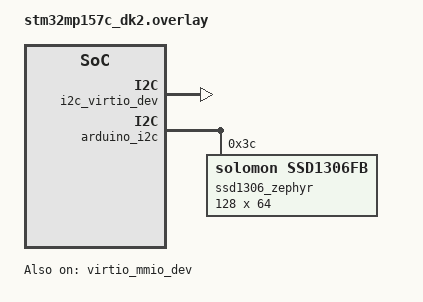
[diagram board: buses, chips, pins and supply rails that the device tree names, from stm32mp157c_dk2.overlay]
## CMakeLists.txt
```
# Copyright (c) 2023  STMicroelectronics
#
# SPDX-License-Identifier: Apache-2.0
#

cmake_minimum_required(VERSION 3.13.1)

set(SHIELD x_nucleo_iks01a2)

find_package(Zephyr REQUIRED HINTS $ENV{ZEPHYR_BASE})

project(openamp_virtio_i2c)

target_sources(app PRIVATE src/main_remote.c)
target_sources(app PRIVATE src/mmio_table.c)

target_include_directories(app PRIVATE ${LIBMETAL_INCLUDE_DIR} ${OPENAMP_INCLUDE_DIR} ${PLATFORM_DIR})
```

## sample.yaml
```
sample:
    description: This app provides an example of how to integrate OpenAMP
        with Zephyr and a virtio I2C bridge.
    name: OpenAMP with virtio I2C bridge.
tests:
    sample.subsys.ipc.openamp_virtio_i2c:
        build_only: true
        platform_whitelist: stm32mp157c_dk2
        tags: ipm
        depends_on: arduino_i2c
```

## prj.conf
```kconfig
CONFIG_KERNEL_BIN_NAME="zephyr_openamp_virtio_i2c"
CONFIG_PRINTK=y
CONFIG_IPM=y
CONFIG_PLATFORM_SPECIFIC_INIT=n
CONFIG_MAIN_STACK_SIZE=4096
CONFIG_HEAP_MEM_POOL_SIZE=16384
CONFIG_OPENAMP=y
CONFIG_I2C=y
CONFIG_I2C_STM32_INTERRUPT=y
CONFIG_I2C_TARGET=y
CONFIG_CBPRINTF_FP_SUPPORT=y

# add display
CONFIG_DISPLAY=y
CONFIG_CFB_LOG_LEVEL_DBG=y
CONFIG_CHARACTER_FRAMEBUFFER=y
CONFIG_SSD1306=y

#sensor
CONFIG_SENSOR=y
CONFIG_HTS221=y
CONFIG_LPS22HB=y
```

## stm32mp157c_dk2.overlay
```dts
/*
 * Copyright (c) 2023, STMICROLECTRONICS
 *
 * SPDX-License-Identifier: Apache-2.0
 */

/ {
	chosen {
		zephyr,ipc = &mailbox;
	};
};

&virtio_mmio_dev {
	status = "okay";
};

&i2c_virtio_dev {
	status = "okay";
};

&arduino_i2c {
	status = "okay";
	ssd1306_zephyr:ssd1306@3c {
		compatible = "solomon,ssd1306fb";
		reg = <0x3c>;
		width = <128>;
		height = <64>;
		segment-offset = <0>;
		page-offset = <0>;
		display-offset = <0>;
		multiplex-ratio = <63>;
		segment-remap;
		com-invdir;
		prechargep = <0x22>;
	};
};
```

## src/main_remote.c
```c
/*
 * Copyright (c) 2023, STMICROLECTRONICS
 *
 * SPDX-License-Identifier: Apache-2.0
 */

#include <stdlib.h>
#include <stdio.h>
#include <string.h>

#include <zephyr/device.h>
#include <zephyr/drivers/sensor.h>
#include <zephyr/drivers/virtio/virtio_mmio_dev.h>
#include <zephyr/drivers/i2c.h>
#include <zephyr/drivers/ipm.h>
#include <zephyr/kernel.h>

/* Display / Framebuffer */
#include <zephyr/display/cfb.h>

#include <zephyr/logging/log.h>
LOG_MODULE_REGISTER(openamp_virtio_i2c, LOG_LEVEL_DBG);

#define I2C_REMOTE_DISP_ADDR 0x3D

/* constant derivated from linker symbols */

#define APP_TASK_STACK_SIZE (4096)
K_THREAD_STACK_DEFINE(thread_stack, APP_TASK_STACK_SIZE);
static struct k_thread thread_data;

static const struct device *const ipm_handle =
	DEVICE_DT_GET(DT_CHOSEN(zephyr_ipc));

static const struct device *const virtio_mmio_dev =
	DEVICE_DT_GET(DT_NODELABEL(virtio_mmio_dev));

static const struct device *const virtio_i2c_dev =
	DEVICE_DT_GET(DT_NODELABEL(i2c_virtio_dev));

static const struct device *const i2c_dev = DEVICE_DT_GET(DT_NODELABEL(arduino_i2c));

#ifdef CONFIG_SSD1306
static const struct device *const dev_display = DEVICE_DT_GET(DT_NODELABEL(ssd1306_zephyr));
#endif

#ifdef CONFIG_HTS221
static const struct device *const hts221 = DEVICE_DT_GET(DT_NODELABEL(hts221_x_nucleo_iks01a2));
#endif

#ifdef CONFIG_LPS22HB
static const struct device *const lps22hb =
			DEVICE_DT_GET(DT_NODELABEL(lps22hb_press_x_nucleo_iks01a2));
#endif

static uint16_t display_rows;
static uint8_t display_ppt;
static uint8_t display_font_width;
static uint8_t display_font_height;
static bool display_available;

static struct sensor_value temp1, temp2, hum, press;

static bool hts221_available = true;
static bool lps22hb_available = true;

void stop_display(void)
{
	display_blanking_on(dev_display);
}

static void platform_ipm_callback(const struct device *dev,
				  void *context, uint32_t id, volatile void *data)
{
	if (id == 2) {
		/* receive shutdown */
		stop_display();
		return;
	}

	if (id == 5) {
		virtio_mmio_interrupt(virtio_mmio_dev);
		return;
	}
}

static void send_virtio_it(void)
{
	ipm_send(ipm_handle, 0, 4, NULL, 0);
}

void init_sensors(void)
{
	/* search in devicetree if sensors are referenced */

#if CONFIG_HTS221
	if (!device_is_ready(hts221)) {
		LOG_ERR("Could not get HTS221 device\n");
		hts221_available = false;
	}
#endif
#if CONFIG_LPS22HB
	if (!device_is_ready(lps22hb)) {
		LOG_ERR("Could not get LPS22HB device\n");
		lps22hb_available = false;
	}
#endif

	/* set LSM6DSL accel/gyro sampling frequency to 104 Hz */
	struct sensor_value odr_attr;

	odr_attr.val1 = 104;
	odr_attr.val2 = 0;

}

int init_display(void)
{
	int ret;

	/* init display */
	if (!device_is_ready(dev_display)) {
		LOG_ERR("Display Device not found\n");
		return -ENODEV;
	}
	display_available = true;

	ret = display_set_pixel_format(dev_display, PIXEL_FORMAT_MONO10);
	if (ret) {
		LOG_ERR("Failed to set format PIXEL_FORMAT_MONO10\n");
		return ret;
	}

	ret = cfb_framebuffer_init(dev_display);
	if (ret) {
		LOG_ERR("Framebuffer initialization failed!\n");
		return ret;
	}
	cfb_framebuffer_clear(dev_display, true);

	display_blanking_off(dev_display);

	display_rows = cfb_get_display_parameter(dev_display,
						 CFB_DISPLAY_ROWS);
	display_ppt = cfb_get_display_parameter(dev_display,
						CFB_DISPLAY_PPT);
	for (int idx = 0; idx < 42; idx++) {
		if (cfb_get_font_size(dev_display, idx,
				      &display_font_width,
				      &display_font_height)) {
			break;
		}
		cfb_framebuffer_set_font(dev_display, idx);
		LOG_DBG("idx: %d font width %d, font height %d\n",
			idx, display_font_width, display_font_height);
	}
	/* for idx: 0 font width 10, font height 16*/
	cfb_framebuffer_set_font(dev_display, 0);
	cfb_get_font_size(dev_display, 0, &display_font_width,
			  &display_font_height);

	LOG_DBG("x_res %d, y_res %d, ppt %d, rows %d, cols %d\n",
		cfb_get_display_parameter(dev_display, CFB_DISPLAY_WIDTH),
		cfb_get_display_parameter(dev_display, CFB_DISPLAY_HEIGH),
		display_ppt,
		display_rows,
		cfb_get_display_parameter(dev_display, CFB_DISPLAY_COLS));

	return 0;
}

int init_remote_display(void)
{
	if (!device_is_ready(i2c_dev)) {
		LOG_ERR("failed to bind remote display\n");
		return -ENODEV;
	}

	return 0;
}

int platform_init(void)
{
	int status;

	virtio_mmio_configure_interrupt(virtio_mmio_dev, send_virtio_it);

	/* setup IPM */
	if (!device_is_ready(ipm_handle)) {
		LOG_ERR("IPM device is not ready\n");
		return -1;
	}

	ipm_register_callback(ipm_handle, platform_ipm_callback, NULL);

	status = ipm_set_enabled(ipm_handle, 1);
	if (status) {
		LOG_ERR("ipm_set_enabled failed\n");
		return -1;
	}

	return 0;
}

static void cleanup_system(void)
{
	ipm_set_enabled(ipm_handle, 0);
}

static int i2c_target_transfer(struct i2c_target_config *config, struct i2c_msg msg)
{
	return i2c_transfer(i2c_dev, &msg, 1, config->address);
}

static const struct i2c_target_callbacks i2c_virtio_callbacks = {
	.transfer = i2c_target_transfer,
};

void app_task(void *arg1, void *arg2, void *arg3)
{
	ARG_UNUSED(arg1);
	ARG_UNUSED(arg2);
	ARG_UNUSED(arg3);

	int len;
	int ret = 0;
	char message[128];
	char display_buf[16];
	uint8_t line = 0;

	struct i2c_target_config config;

	/* Allow full access to the bus, specify address to allow only one address */
	config.address = 0xFF;
	config.callbacks = &i2c_virtio_callbacks;

	ret = i2c_target_register(virtio_i2c_dev, &config);
	if (ret) {
		LOG_ERR("Failed to register I2C SLAVE %#x\n", config.address);
		goto task_end;
	}

	LOG_INF("\r\nOpenAMP[remote] I2C demo started\n");

	init_remote_display();
	init_sensors();
	init_display();

	if (display_available) {
		line = 0;
		LOG_ERR("--init display screen --\n");

		cfb_framebuffer_clear(dev_display, false);
		cfb_print(dev_display, "Zephyr", 0,
			  line++ * display_font_height);
		cfb_print(dev_display, "   Waiting ", 0,
			  line++ * display_font_height);
		cfb_print(dev_display, "     TTY   ", 0,
			  line++ * display_font_height);
		cfb_print(dev_display, "    data   ", 0,
			  line++ * display_font_height);
		cfb_framebuffer_finalize(dev_display);
	}

	while (1) {
		unsigned int line = 0;

		if (display_available)
			cfb_framebuffer_clear(dev_display, false);

		/* Get sensor samples */
		if (hts221_available && sensor_sample_fetch(hts221) < 0)
			printf("HTS221 Sensor sample update error\n");
		if (lps22hb_available && sensor_sample_fetch(lps22hb) < 0)
			printf("LPS22HB Sensor sample update error\n");

		/* Get sensor data */
		if (hts221_available) {
			sensor_channel_get(hts221, SENSOR_CHAN_AMBIENT_TEMP,
					   &temp1);
			sensor_channel_get(hts221, SENSOR_CHAN_HUMIDITY, &hum);
		}
		if (lps22hb_available) {
			sensor_channel_get(lps22hb, SENSOR_CHAN_PRESS, &press);
			sensor_channel_get(lps22hb, SENSOR_CHAN_AMBIENT_TEMP,
					   &temp2);
		}

		/* Erase previous */
		if (display_available) {
			cfb_print(dev_display, "Zephyr", 0,
				  line++ * display_font_height);

			if (hts221_available) {
				/* temperature */
				snprintf(display_buf, sizeof(display_buf), "T: %.2f*C",
					 sensor_value_to_float(&temp1));

				cfb_print(dev_display, display_buf, 0,
					  line++ * display_font_height);

				/* humidity */
				snprintf(display_buf, sizeof(display_buf), "H: %.1f%%",
					 sensor_value_to_float(&hum));

				cfb_print(dev_display, display_buf, 0,
					  line++ * display_font_height);
			} else {
				cfb_print(dev_display, "T: N/A", 0, line++ * display_font_height);
				cfb_print(dev_display, "H: N/A", 0, line++ * display_font_height);
			}

			if (lps22hb_available) {
				/* pressure */
				/* lps22hb temperature */
				len = snprintf(message, sizeof(message),
					       "LPS22HB: Temperature: %.1f C\n",
					       sensor_value_to_double(&temp2));

				snprintf(display_buf, sizeof(display_buf), "P: %.2fkpa",
					 (sensor_value_to_double(&press) * 10.0));

				cfb_print(dev_display, display_buf, 0,
					  line++ * display_font_height);
			} else {
				cfb_print(dev_display, "P: N/A", 0, line++ * display_font_height);
			}

			cfb_framebuffer_finalize(dev_display);
		}

		k_msleep(500);
	}

task_end:
	cleanup_system();

	LOG_DBG("sensor task ended\n");
}

static int openamp_init(const struct device *dev)
{
	int ret;

	/* Initialize platform */
	ret = platform_init();
	if (ret) {
		LOG_ERR("Failed to initialize platform\n");
		goto error_case;
	}

	return 0;

error_case:
	cleanup_system();

	return 1;
}

void main(void)
{
	k_thread_create(&thread_data, thread_stack, APP_TASK_STACK_SIZE,
			(k_thread_entry_t)app_task,
			NULL, NULL, NULL, K_PRIO_COOP(7), 0, K_NO_WAIT);
}

SYS_INIT(openamp_init, POST_KERNEL, CONFIG_KERNEL_INIT_PRIORITY_DEVICE);
```

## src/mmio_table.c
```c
#include <openamp/virtio_mmio_dev.h>

#define __resource Z_GENERIC_SECTION(.mmio_table)

static struct mmio_table __resource __attribute__((used)) mmio_table = EMPTY_MMIO_TABLE;
```

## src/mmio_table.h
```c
#include <openamp/virtio.h>

#define STATUS_ACK		1
#define STATUS_DRIVER		2
#define STATUS_DRIVER_OK	4
#define STATUS_FEATURES_OK	8
#define STATUS_RESET_DEVICE	64
#define STATUS_FAILED		128

/* Virtqueue descriptors: 16 bytes.
 * These can chain together via "next".
 */
struct virtq_desc {
	/* Address (guest-physical). */
	volatile uint64_t addr;
	/* Length. */
	volatile uint32_t len;
	/* The flags as indicated above. */
	volatile uint16_t flags;
	/* We chain unused descriptors via this, too */
	volatile uint16_t next;
};

struct virtq_avail {
	volatile uint16_t flags;
	volatile uint16_t idx;
	volatile uint16_t ring[];
	/* Only if VIRTIO_F_EVENT_IDX: le16 used_event; */
};

/* le32 is used here for ids for padding reasons. */
struct virtq_used_elem {
	/* Index of start of used descriptor chain. */
	volatile uint32_t id;
	/* Total length of the descriptor chain which was written to. */
	volatile uint32_t len;
};

struct virtq_used {
	volatile uint16_t flags;
	volatile uint16_t idx;
	volatile struct virtq_used_elem ring[];
	/* Only if VIRTIO_F_EVENT_IDX: le16 avail_event; */
};

struct fw_mmio_table {

	/* 0x00 R should be 0x74726976 */
	uint32_t magic;

	/* 0x04 R */
	uint32_t version;

	/* 0x08 R 34 for i2c */
	uint32_t deviceType;

	/* 0x0c R */
	uint32_t vendoId;

	/* 0x10 R flags to represent features supported by the device */
	uint32_t deviceFeatures;

	/* 0x14 W selected features from the device */
	volatile uint32_t deviceFeaturesSel;

	uint32_t reserved[2];

	/* 0x20 W flags to represent features supported by the driver */
	volatile uint32_t driverFeatures;

	/* 0x24 W selected features from the driver */
	volatile uint32_t driverFeaturesSel;

	uint32_t reserved2[2];

	/* 0x30 W virtual queue index */
	volatile uint32_t queueSel;

	/* 0x34 R maximum virtual queue size */
	uint32_t queueNumMax;

	/* 0x38 W virtual queue size */
	volatile uint32_t queueNum;

	uint32_t reserved3[2];

	/* 0x44 RW virtual queue ready bit */
	volatile uint32_t queueReady;

	uint32_t reserved4[2];

	/* 0x50 W queue notifier */
	volatile uint32_t queueNotify;

	uint32_t reserved5[3];

	/* 0x60 R bit mask of events that caused the device interrupt to be asserted */
	volatile uint32_t interruptStatus;

	/* 0x64 W bit mask notifies the device that events causing the interrupt,
	 * have been handled.
	 */
	volatile uint32_t interruptACK;

	uint32_t reserved6[2];

	/* 0x70 RW Writing non-zero values to this register sets the status flags,
	 * indicating the driver progress.
	 * Writing zero (0x0) to this register triggers a device reset.
	 */
	volatile uint32_t status;

	uint32_t reserved7[3];

	/* 0x80 W notifies the device about location of the Descriptor Area of the queue,
	 * selected by writing to QueueSel register
	 */
	volatile uint64_t queueDesc;

	uint32_t reserved8[2];

	/* 0x90 W notifies the device about location of the Driver Area of the queue selected,
	 * by writing to QueueSel.
	 */
	volatile uint64_t queueDriver;

	uint32_t reserved9[2];

	/* 0xa0 W notifies the device about location of the Device Area of the queue selected,
	 * by writing to QueueSel.
	 */
	volatile uint64_t queueDevice;

	uint32_t reserved10[23];

	/* 0xfc R value describing a version of the device-specific configuration space */
	uint32_t configGeneration;
};

void mmio_table_get(struct fw_mmio_table **table_ptr);
```
